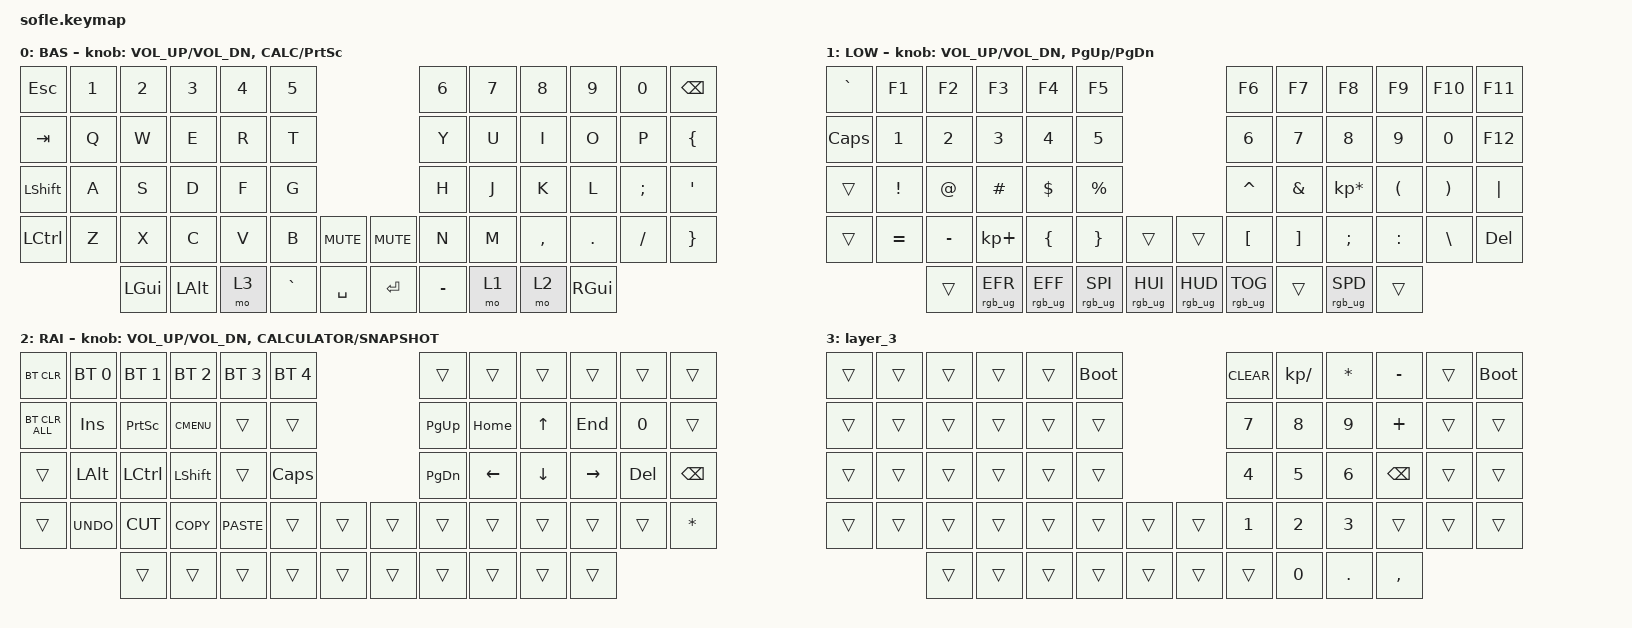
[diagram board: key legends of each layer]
/*
 * Copyright (c) 2020 The ZMK Contributors
 *
 * SPDX-License-Identifier: MIT
 */

#include <behaviors.dtsi>
#include <dt-bindings/zmk/bt.h>
#include <dt-bindings/zmk/keys.h>
#include <dt-bindings/zmk/rgb.h>

/ {
    keymap {
        compatible = "zmk,keymap";

        default_layer {
            display-name = "BAS";

            // ------------------------------------------------------------------------------------------------------------
            // |  `    |  1  |  2  |  3   |  4   |  5   |                   |  6   |  7    |  8    |  9   |   0   |       |
            // |  ESC  |  Q  |  W  |  E   |  R   |  T   |                   |  Y   |  U    |  I    |  O   |   P   | BKSPC |
            // |  TAB  |  A  |  S  |  D   |  F   |  G   |                   |  H   |  J    |  K    |  L   |   ;   |   '   |
            // | SHIFT |  Z  |  X  |  C   |  V   |  B   |  MUTE  |  |       |  N   |  M    |  ,    |  .   |   /   | SHIFT |
            //               | GUI | ALT  | CTRL | LOWER|  ENTER |  | SPACE | RAISE| CTRL  | ALT   | GUI  |

            bindings = <
&kp ESC         &kp N1  &kp N2    &kp N3    &kp N4  &kp N5                               &kp N6     &kp N7  &kp N8     &kp N9    &kp N0    &kp BSPC
&kp TAB         &kp Q   &kp W     &kp E     &kp R   &kp T                                &kp Y      &kp U   &kp I      &kp O     &kp P     &kp LEFT_BRACE
&kp LEFT_SHIFT  &kp A   &kp S     &kp D     &kp F   &kp G                                &kp H      &kp J   &kp K      &kp L     &kp SEMI  &kp SQT
&kp LCTRL       &kp Z   &kp X     &kp C     &kp V   &kp B      &kp C_MUTE    &kp C_MUTE  &kp N      &kp M   &kp COMMA  &kp DOT   &kp FSLH  &kp RIGHT_BRACE
                        &kp LGUI  &kp LALT  &mo 3   &kp GRAVE  &kp SPACE     &kp RET     &kp MINUS  &mo 1   &mo 2      &kp RGUI
            >;

            sensor-bindings =
                <&inc_dec_kp C_VOL_UP C_VOL_DN>,
                <&inc_dec_kp K_CALC PRINTSCREEN>;
        };

        lower_layer {
            display-name = "LOW";

            // ------------------------------------------------------------------------------------------------------------
            // | `     |  F1 |  F2 |  F3  |  F4  |  F5  |                   |  F6  |  F7   |  F8   |  F9  |  F10  |  F11  |
            // | RAISE |   1 |   2 |   3  |   4  |   5  |                   |   6  |   7   |   8   |   9  |    0  |  F12  |
            // |       |  !  |  @  |  #   |  $   |  %   |                   |  ^   |  &    |  *    |  (   |   )   |   |   |
            // |       |  =  |  -  |  +   |  {   |  }   |        |  |       |  [   |  ]    |  ;    |  :   |   \   |       |
            //               |     |      |      |      |        |  |       |      |       |       |      |

            bindings = <
&kp GRAVE  &kp F1     &kp F2     &kp F3           &kp F4           &kp F5                                               &kp F6           &kp F7    &kp F8           &kp F9     &kp F10   &kp F11
&kp CAPS   &kp N1     &kp N2     &kp N3           &kp N4           &kp N5                                               &kp N6           &kp N7    &kp N8           &kp N9     &kp N0    &kp F12
&trans     &kp EXCL   &kp AT     &kp HASH         &kp DLLR         &kp PRCNT                                            &kp CARET        &kp AMPS  &kp KP_MULTIPLY  &kp LPAR   &kp RPAR  &kp PIPE
&trans     &kp EQUAL  &kp MINUS  &kp KP_PLUS      &kp LBRC         &kp RBRC         &trans             &trans           &kp LBKT         &kp RBKT  &kp SEMI         &kp COLON  &kp BSLH  &kp DELETE
                      &trans     &rgb_ug RGB_EFR  &rgb_ug RGB_EFF  &rgb_ug RGB_SPI  &rgb_ug RGB_HUI    &rgb_ug RGB_HUD  &rgb_ug RGB_TOG  &trans    &rgb_ug RGB_SPD  &trans
            >;

            sensor-bindings = <&inc_dec_kp C_VOL_UP C_VOL_DN &inc_dec_kp PG_UP PG_DN>;
        };

        raise_layer {
            display-name = "RAI";

            // ------------------------------------------------------------------------------------------------------------
            // |BTCLR| BT1  | BT2  |  BT3  |  BT4  |  BT5 |                |      |      |       |      |       |       |
            // |     | INS  | PSCR | GUI   |       |      |                | PGUP |      |       |      |       |       |
            // |     | ALT  | CTRL | SHIFT |       | CAPS |                |  <-  |   v  |   ^   |  ->  |  DEL  | BKSPC |
            // |     | UNDO | CUT  | COPY  | PASTE |      |      |  |      |      |      |       |      |       |       |
            //              |      |       |       |      |      |  |      |      |      |       |      |

            bindings = <
&bt BT_CLR      &bt BT_SEL 0  &bt BT_SEL 1  &bt BT_SEL 2  &bt BT_SEL 3  &bt BT_SEL 4                    &trans         &trans    &trans    &trans     &trans   &trans
&bt BT_CLR_ALL  &kp INS       &kp PSCRN     &kp K_CMENU   &trans        &trans                          &kp PG_UP      &kp HOME  &kp UP    &kp END    &kp N0   &trans
&trans          &kp LALT      &kp LCTRL     &kp LSHFT     &trans        &kp CLCK                        &kp PAGE_DOWN  &kp LEFT  &kp DOWN  &kp RIGHT  &kp DEL  &kp BSPC
&trans          &kp K_UNDO    &kp K_CUT     &kp K_COPY    &kp K_PASTE   &trans        &trans    &trans  &trans         &trans    &trans    &trans     &trans   &kp STAR
                              &trans        &trans        &trans        &trans        &trans    &trans  &trans         &trans    &trans    &trans
            >;

            sensor-bindings =
                <&inc_dec_kp C_VOL_UP C_VOL_DN>,
                <&inc_dec_kp K_CALCULATOR C_SNAPSHOT>;
        };

        layer_3 {
            bindings = <
&trans  &trans  &trans  &trans  &trans  &bootloader                    &kp CLEAR     &kp KP_DIVIDE  &kp ASTRK     &kp MINUS      &trans  &bootloader
&trans  &trans  &trans  &trans  &trans  &trans                         &kp N7        &kp N8         &kp N9        &kp PLUS       &trans  &trans
&trans  &trans  &trans  &trans  &trans  &trans                         &kp NUMBER_4  &kp N5         &kp NUMBER_6  &kp BACKSPACE  &trans  &trans
&trans  &trans  &trans  &trans  &trans  &trans       &trans    &trans  &kp NUMBER_1  &kp NUMBER_2   &kp NUMBER_3  &trans         &trans  &trans
                &trans  &trans  &trans  &trans       &trans    &trans  &trans        &kp N0         &kp DOT       &kp COMMA
            >;
        };
    };
};
